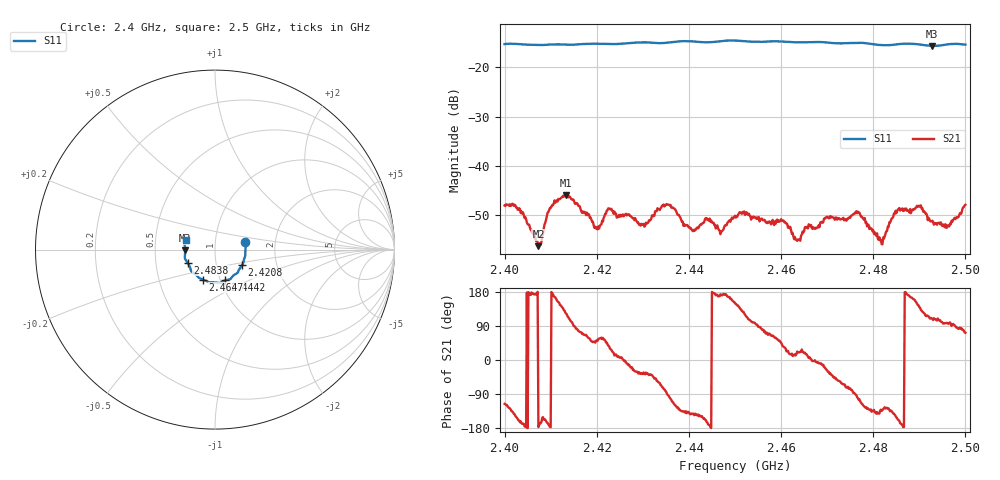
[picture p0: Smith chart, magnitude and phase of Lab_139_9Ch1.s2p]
# Hz S RI R 50
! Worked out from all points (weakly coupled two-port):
!   601 points, 2.4 GHz to 2.5 GHz, reference 50 ohm
!   highest |S21| = -45.99 dB at 2.4133 GHz (marker M1); lowest = -56.4 dB at 2.4073 GHz (marker M2)
!   lowest |S11| = -15.6 dB at 2.4928 GHz (marker M3), VSWR 1.40, Z = 35.8 - j0.354 ohm
!   |S11| at or under -10 dB: start of sweep to end of sweep
!   S12 and S22 are empty: the file has one direction only
!   S11 on the Smith chart (normalised r, x): 2.4 GHz: 1.40, +0.12; 2.4208 GHz: 1.33, -0.24; 2.4442 GHz: 1.05, -0.37; 2.4647 GHz: 0.83, -0.29; 2.4838 GHz: 0.73, -0.11; 2.5 GHz: 0.72, +0.08
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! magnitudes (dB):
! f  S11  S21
! 2.4 GHz  -15.3  -48.1
! 2.4073 GHz  -15.4  -56.4
! 2.4098 GHz  -15.3  -48.6
! 2.4133 GHz  -15.3  -46.0
! 2.4167 GHz  -15.2  -49.4
! 2.4208 GHz  -15.2  -52.1
! 2.4227 GHz  -15.2  -48.7
! 2.43 GHz  -14.9  -52.1
! 2.4333 GHz  -15.0  -48.8
! 2.441 GHz  -14.7  -53.3
! 2.4442 GHz  -14.9  -51.0
! 2.447 GHz  -14.7  -53.5
! 2.45 GHz  -14.5  -50.2
! 2.4647 GHz  -14.9  -53.4
! 2.4667 GHz  -14.8  -52.7
! 2.4767 GHz  -15.0  -49.4
! 2.4815 GHz  -15.4  -55.3
! 2.4833 GHz  -15.5  -52.5
! 2.4838 GHz  -15.4  -51.2
! 2.4898 GHz  -15.3  -48.2
! 2.4928 GHz  -15.6  -51.2
! 2.5 GHz  -15.3  -48.0
